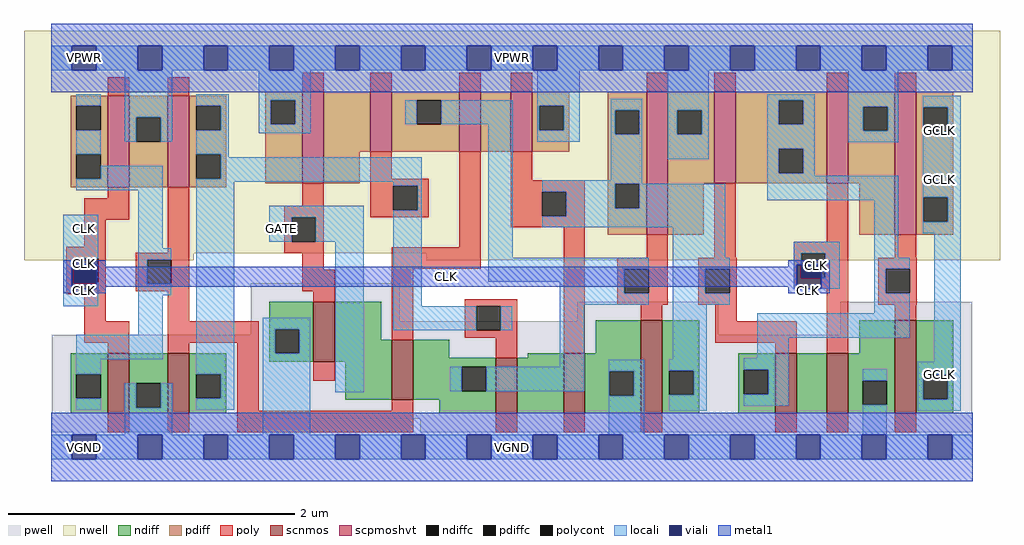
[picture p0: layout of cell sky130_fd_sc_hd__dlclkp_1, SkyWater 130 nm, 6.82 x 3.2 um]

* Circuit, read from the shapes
.subckt sky130_fd_sc_hd__dlclkp_1 CLK GATE VGND VNB VPB VPWR GCLK
XM1 VGND CLK n1 VNB sky130_fd_pr__nfet_01v8 w=0.42 l=0.15
XM2 n2 n1 VGND VNB sky130_fd_pr__nfet_01v8 w=0.42 l=0.15
XM3 n3 GATE VGND VNB sky130_fd_pr__nfet_01v8 w=0.42 l=0.15
XM4 n4 n1 n3 VNB sky130_fd_pr__nfet_01v8 w=0.42 l=0.15
XM5 n5 n2 n4 VNB sky130_fd_pr__nfet_01v8 w=0.39 l=0.15
XM6 VGND n6 n5 VNB sky130_fd_pr__nfet_01v8 w=0.42 l=0.15
XM7 n6 n4 VGND VNB sky130_fd_pr__nfet_01v8 w=0.65 l=0.15
XM8 n7 n6 n8 VNB sky130_fd_pr__nfet_01v8 w=0.42 l=0.15
XM9 VGND CLK n7 VNB sky130_fd_pr__nfet_01v8 w=0.42 l=0.15
XM10 GCLK n8 VGND VNB sky130_fd_pr__nfet_01v8 w=0.65 l=0.15
XM11 VPWR CLK n1 VPB sky130_fd_pr__pfet_01v8_hvt w=0.64 l=0.15
XM12 n2 n1 VPWR VPB sky130_fd_pr__pfet_01v8_hvt w=0.64 l=0.15
XM13 n9 GATE VPWR VPB sky130_fd_pr__pfet_01v8_hvt w=0.64 l=0.15
XM14 n4 n2 n9 VPB sky130_fd_pr__pfet_01v8_hvt w=0.42 l=0.15
XM15 n10 n1 n4 VPB sky130_fd_pr__pfet_01v8_hvt w=0.42 l=0.15
XM16 VPWR n6 n10 VPB sky130_fd_pr__pfet_01v8_hvt w=0.42 l=0.15
XM17 VPWR n4 n6 VPB sky130_fd_pr__pfet_01v8_hvt w=1 l=0.15
XM18 n8 n6 VPWR VPB sky130_fd_pr__pfet_01v8_hvt w=0.64 l=0.15
XM19 VPWR CLK n8 VPB sky130_fd_pr__pfet_01v8_hvt w=0.64 l=0.15
XM20 GCLK n8 VPWR VPB sky130_fd_pr__pfet_01v8_hvt w=1 l=0.15
.ends

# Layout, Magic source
magic
tech sky130A
magscale 1 2
<< nwell >>
rect -38 271 1326 582
rect -38 261 199 271
rect 524 261 1326 271
<< pwell >>
rect 279 176 487 229
rect 735 176 932 203
rect 279 157 932 176
rect 1103 157 1287 203
rect 1 40 1287 157
rect 1 21 271 40
rect 516 21 1287 40
rect 30 -17 64 21
<< scnmos >>
rect 79 47 109 131
rect 163 47 193 131
rect 366 119 396 203
rect 476 66 506 150
rect 621 47 651 125
rect 716 47 746 131
rect 824 47 854 177
rect 1012 47 1042 131
rect 1084 47 1114 131
rect 1179 47 1209 177
<< scpmoshvt >>
rect 79 363 109 491
rect 163 363 193 491
rect 351 369 381 497
rect 446 413 476 497
rect 570 413 600 497
rect 642 413 672 497
rect 832 297 862 497
rect 927 369 957 497
rect 1084 369 1114 497
rect 1179 297 1209 497
<< ndiff >>
rect 27 102 79 131
rect 27 68 35 102
rect 69 68 79 102
rect 27 47 79 68
rect 109 89 163 131
rect 109 55 119 89
rect 153 55 163 89
rect 109 47 163 55
rect 193 102 245 131
rect 193 68 203 102
rect 237 68 245 102
rect 193 47 245 68
rect 305 165 366 203
rect 305 131 313 165
rect 347 131 366 165
rect 305 119 366 131
rect 396 150 461 203
rect 396 119 476 150
rect 411 66 476 119
rect 506 125 556 150
rect 761 131 824 177
rect 666 125 716 131
rect 506 112 621 125
rect 506 78 574 112
rect 608 78 621 112
rect 506 66 621 78
rect 542 47 621 66
rect 651 47 716 125
rect 746 106 824 131
rect 746 72 780 106
rect 814 72 824 106
rect 746 47 824 72
rect 854 107 906 177
rect 1129 131 1179 177
rect 854 73 864 107
rect 898 73 906 107
rect 854 47 906 73
rect 960 108 1012 131
rect 960 74 968 108
rect 1002 74 1012 108
rect 960 47 1012 74
rect 1042 47 1084 131
rect 1114 93 1179 131
rect 1114 59 1134 93
rect 1168 59 1179 93
rect 1114 47 1179 59
rect 1209 101 1261 177
rect 1209 67 1219 101
rect 1253 67 1261 101
rect 1209 47 1261 67
<< pdiff >>
rect 27 477 79 491
rect 27 443 35 477
rect 69 443 79 477
rect 27 409 79 443
rect 27 375 35 409
rect 69 375 79 409
rect 27 363 79 375
rect 109 461 163 491
rect 109 427 119 461
rect 153 427 163 461
rect 109 363 163 427
rect 193 477 245 491
rect 193 443 203 477
rect 237 443 245 477
rect 193 409 245 443
rect 193 375 203 409
rect 237 375 245 409
rect 193 363 245 375
rect 299 485 351 497
rect 299 451 307 485
rect 341 451 351 485
rect 299 369 351 451
rect 381 413 446 497
rect 476 485 570 497
rect 476 451 511 485
rect 545 451 570 485
rect 476 413 570 451
rect 600 413 642 497
rect 672 477 724 497
rect 672 443 682 477
rect 716 443 724 477
rect 672 413 724 443
rect 778 471 832 497
rect 778 437 788 471
rect 822 437 832 471
rect 381 369 431 413
rect 778 368 832 437
rect 778 334 788 368
rect 822 334 832 368
rect 778 297 832 334
rect 862 471 927 497
rect 862 437 875 471
rect 909 437 927 471
rect 862 369 927 437
rect 957 485 1084 497
rect 957 451 1017 485
rect 1051 451 1084 485
rect 957 417 1084 451
rect 957 383 1017 417
rect 1051 383 1084 417
rect 957 369 1084 383
rect 1114 476 1179 497
rect 1114 442 1135 476
rect 1169 442 1179 476
rect 1114 369 1179 442
rect 862 297 912 369
rect 1129 297 1179 369
rect 1209 475 1261 497
rect 1209 441 1219 475
rect 1253 441 1261 475
rect 1209 349 1261 441
rect 1209 315 1219 349
rect 1253 315 1261 349
rect 1209 297 1261 315
<< ndiffc >>
rect 35 68 69 102
rect 119 55 153 89
rect 203 68 237 102
rect 313 131 347 165
rect 574 78 608 112
rect 780 72 814 106
rect 864 73 898 107
rect 968 74 1002 108
rect 1134 59 1168 93
rect 1219 67 1253 101
<< pdiffc >>
rect 35 443 69 477
rect 35 375 69 409
rect 119 427 153 461
rect 203 443 237 477
rect 203 375 237 409
rect 307 451 341 485
rect 511 451 545 485
rect 682 443 716 477
rect 788 437 822 471
rect 788 334 822 368
rect 875 437 909 471
rect 1017 451 1051 485
rect 1017 383 1051 417
rect 1135 442 1169 476
rect 1219 441 1253 475
rect 1219 315 1253 349
<< poly >>
rect 79 491 109 517
rect 163 491 193 517
rect 351 497 381 523
rect 446 497 476 523
rect 570 497 600 523
rect 642 497 672 523
rect 832 497 862 523
rect 927 497 957 523
rect 1084 497 1114 523
rect 1179 497 1209 523
rect 446 375 476 413
rect 79 348 109 363
rect 46 318 109 348
rect 46 280 76 318
rect 21 264 76 280
rect 163 272 193 363
rect 351 337 381 369
rect 21 230 32 264
rect 66 230 76 264
rect 21 214 76 230
rect 118 262 193 272
rect 326 321 381 337
rect 446 365 528 375
rect 446 331 478 365
rect 512 331 528 365
rect 446 321 528 331
rect 326 287 336 321
rect 370 287 381 321
rect 326 271 381 287
rect 570 279 600 413
rect 642 373 672 413
rect 642 357 746 373
rect 642 323 686 357
rect 720 323 746 357
rect 642 307 746 323
rect 118 228 134 262
rect 168 228 193 262
rect 118 218 193 228
rect 351 248 381 271
rect 476 249 600 279
rect 351 218 396 248
rect 46 176 76 214
rect 163 176 193 218
rect 366 203 396 218
rect 46 146 109 176
rect 79 131 109 146
rect 163 146 290 176
rect 163 131 193 146
rect 260 51 290 146
rect 476 150 506 249
rect 578 197 651 207
rect 578 163 594 197
rect 628 163 651 197
rect 578 153 651 163
rect 366 93 396 119
rect 621 125 651 153
rect 716 131 746 307
rect 832 265 862 297
rect 927 265 957 369
rect 1084 287 1114 369
rect 1038 271 1114 287
rect 791 249 862 265
rect 791 215 801 249
rect 835 215 862 249
rect 791 199 862 215
rect 904 249 958 265
rect 904 215 914 249
rect 948 215 958 249
rect 1038 237 1048 271
rect 1082 237 1114 271
rect 1179 265 1209 297
rect 1038 221 1114 237
rect 904 199 958 215
rect 824 177 854 199
rect 476 51 506 66
rect 79 21 109 47
rect 163 21 193 47
rect 260 21 506 51
rect 928 176 958 199
rect 928 146 1042 176
rect 1012 131 1042 146
rect 1084 131 1114 221
rect 1156 249 1210 265
rect 1156 215 1166 249
rect 1200 215 1210 249
rect 1156 199 1210 215
rect 1179 177 1209 199
rect 621 21 651 47
rect 716 21 746 47
rect 824 21 854 47
rect 1012 21 1042 47
rect 1084 21 1114 47
rect 1179 21 1209 47
<< polycont >>
rect 32 230 66 264
rect 478 331 512 365
rect 336 287 370 321
rect 686 323 720 357
rect 134 228 168 262
rect 594 163 628 197
rect 801 215 835 249
rect 914 215 948 249
rect 1048 237 1082 271
rect 1166 215 1200 249
<< locali >>
rect 0 527 29 561
rect 63 527 121 561
rect 155 527 213 561
rect 247 527 305 561
rect 339 527 397 561
rect 431 527 489 561
rect 523 527 581 561
rect 615 527 673 561
rect 707 527 765 561
rect 799 527 857 561
rect 891 527 949 561
rect 983 527 1041 561
rect 1075 527 1133 561
rect 1167 527 1225 561
rect 1259 527 1288 561
rect 35 477 69 493
rect 35 409 69 443
rect 103 461 169 527
rect 103 427 119 461
rect 153 427 169 461
rect 203 477 248 493
rect 237 443 248 477
rect 203 409 248 443
rect 290 485 363 527
rect 290 451 307 485
rect 341 451 363 485
rect 495 451 511 485
rect 545 451 645 485
rect 290 439 363 451
rect 69 375 156 393
rect 35 359 156 375
rect 17 264 66 325
rect 17 255 32 264
rect 17 221 29 255
rect 63 221 66 230
rect 17 197 66 221
rect 122 278 156 359
rect 237 405 248 409
rect 237 375 518 405
rect 203 371 518 375
rect 122 262 168 278
rect 122 228 134 262
rect 122 212 168 228
rect 122 157 156 212
rect 35 123 156 157
rect 35 102 69 123
rect 203 102 256 371
rect 478 365 518 371
rect 305 321 437 337
rect 305 287 336 321
rect 370 287 437 321
rect 35 52 69 68
rect 103 55 119 89
rect 153 55 169 89
rect 103 17 169 55
rect 237 68 256 102
rect 203 52 256 68
rect 296 165 362 181
rect 296 131 313 165
rect 347 131 362 165
rect 296 17 362 131
rect 397 77 437 287
rect 512 331 518 365
rect 478 197 518 331
rect 611 265 645 451
rect 679 477 739 527
rect 679 443 682 477
rect 716 443 739 477
rect 679 427 739 443
rect 782 471 826 487
rect 782 437 788 471
rect 822 437 826 471
rect 782 373 826 437
rect 862 471 919 527
rect 862 437 875 471
rect 909 437 919 471
rect 862 402 919 437
rect 1001 485 1067 493
rect 1001 451 1017 485
rect 1051 451 1067 485
rect 1001 417 1067 451
rect 1114 476 1184 527
rect 1114 442 1135 476
rect 1169 442 1184 476
rect 1114 426 1184 442
rect 1218 475 1271 491
rect 1218 441 1219 475
rect 1253 441 1271 475
rect 686 368 826 373
rect 1001 383 1017 417
rect 1051 383 1067 417
rect 1001 379 1067 383
rect 686 357 788 368
rect 720 334 788 357
rect 822 334 942 368
rect 1001 345 1184 379
rect 720 323 942 334
rect 686 307 942 323
rect 869 265 942 307
rect 1038 271 1102 287
rect 611 249 835 265
rect 611 231 801 249
rect 711 215 801 231
rect 711 199 835 215
rect 869 249 948 265
rect 869 215 914 249
rect 1038 255 1048 271
rect 1038 221 1042 255
rect 1082 237 1102 271
rect 1076 221 1102 237
rect 1150 265 1184 345
rect 1218 349 1271 441
rect 1218 315 1219 349
rect 1253 315 1271 349
rect 1218 299 1271 315
rect 1150 249 1200 265
rect 869 199 948 215
rect 1150 215 1166 249
rect 478 163 594 197
rect 628 163 644 197
rect 711 112 745 199
rect 869 123 916 199
rect 1150 187 1200 215
rect 987 153 1200 187
rect 987 124 1031 153
rect 558 78 574 112
rect 608 78 745 112
rect 779 106 829 122
rect 779 72 780 106
rect 814 72 829 106
rect 779 17 829 72
rect 864 107 916 123
rect 898 73 916 107
rect 864 51 916 73
rect 968 108 1031 124
rect 1234 119 1271 299
rect 1002 74 1031 108
rect 968 58 1031 74
rect 1134 93 1168 109
rect 1134 17 1168 59
rect 1211 101 1271 119
rect 1211 67 1219 101
rect 1253 67 1271 101
rect 1211 51 1271 67
rect 0 -17 29 17
rect 63 -17 121 17
rect 155 -17 213 17
rect 247 -17 305 17
rect 339 -17 397 17
rect 431 -17 489 17
rect 523 -17 581 17
rect 615 -17 673 17
rect 707 -17 765 17
rect 799 -17 857 17
rect 891 -17 949 17
rect 983 -17 1041 17
rect 1075 -17 1133 17
rect 1167 -17 1225 17
rect 1259 -17 1288 17
<< viali >>
rect 29 527 63 561
rect 121 527 155 561
rect 213 527 247 561
rect 305 527 339 561
rect 397 527 431 561
rect 489 527 523 561
rect 581 527 615 561
rect 673 527 707 561
rect 765 527 799 561
rect 857 527 891 561
rect 949 527 983 561
rect 1041 527 1075 561
rect 1133 527 1167 561
rect 1225 527 1259 561
rect 29 230 32 255
rect 32 230 63 255
rect 29 221 63 230
rect 1042 237 1048 255
rect 1048 237 1076 255
rect 1042 221 1076 237
rect 29 -17 63 17
rect 121 -17 155 17
rect 213 -17 247 17
rect 305 -17 339 17
rect 397 -17 431 17
rect 489 -17 523 17
rect 581 -17 615 17
rect 673 -17 707 17
rect 765 -17 799 17
rect 857 -17 891 17
rect 949 -17 983 17
rect 1041 -17 1075 17
rect 1133 -17 1167 17
rect 1225 -17 1259 17
<< metal1 >>
rect 0 561 1288 592
rect 0 527 29 561
rect 63 527 121 561
rect 155 527 213 561
rect 247 527 305 561
rect 339 527 397 561
rect 431 527 489 561
rect 523 527 581 561
rect 615 527 673 561
rect 707 527 765 561
rect 799 527 857 561
rect 891 527 949 561
rect 983 527 1041 561
rect 1075 527 1133 561
rect 1167 527 1225 561
rect 1259 527 1288 561
rect 0 496 1288 527
rect 17 255 76 261
rect 17 221 29 255
rect 63 252 76 255
rect 1030 255 1088 261
rect 1030 252 1042 255
rect 63 224 1042 252
rect 63 221 76 224
rect 17 215 76 221
rect 1030 221 1042 224
rect 1076 221 1088 255
rect 1030 215 1088 221
rect 0 17 1288 48
rect 0 -17 29 17
rect 63 -17 121 17
rect 155 -17 213 17
rect 247 -17 305 17
rect 339 -17 397 17
rect 431 -17 489 17
rect 523 -17 581 17
rect 615 -17 673 17
rect 707 -17 765 17
rect 799 -17 857 17
rect 891 -17 949 17
rect 983 -17 1041 17
rect 1075 -17 1133 17
rect 1167 -17 1225 17
rect 1259 -17 1288 17
rect 0 -48 1288 -17
<< labels >>
flabel locali s 305 289 339 323 0 FreeSans 200 0 0 0 GATE
port 2 nsew signal input
flabel locali s 1225 85 1259 119 0 FreeSans 200 0 0 0 GCLK
port 7 nsew signal output
flabel locali s 1225 425 1259 459 0 FreeSans 200 0 0 0 GCLK
port 7 nsew signal output
flabel locali s 1225 357 1259 391 0 FreeSans 200 0 0 0 GCLK
port 7 nsew signal output
flabel locali s 30 289 64 323 0 FreeSans 200 0 0 0 CLK
port 1 nsew clock input
flabel metal1 s 30 -17 64 17 0 FreeSans 200 0 0 0 VGND
port 3 nsew ground bidirectional abutment
flabel metal1 s 30 527 64 561 0 FreeSans 200 0 0 0 VPWR
port 6 nsew power bidirectional abutment
flabel nwell s 29 527 63 561 0 FreeSans 200 0 0 0 VPB
port 5 nsew power bidirectional
flabel pwell s 30 -17 64 17 0 FreeSans 200 0 0 0 VNB
port 4 nsew ground bidirectional
rlabel comment s 0 0 0 0 4 dlclkp_1
rlabel locali s 1038 221 1102 287 1 CLK
port 1 nsew clock input
rlabel metal1 s 1030 252 1088 261 1 CLK
port 1 nsew clock input
rlabel metal1 s 1030 215 1088 224 1 CLK
port 1 nsew clock input
rlabel metal1 s 17 252 76 261 1 CLK
port 1 nsew clock input
rlabel metal1 s 17 224 1088 252 1 CLK
port 1 nsew clock input
rlabel metal1 s 17 215 76 224 1 CLK
port 1 nsew clock input
rlabel metal1 s 0 -48 1288 48 1 VGND
port 3 nsew ground bidirectional abutment
rlabel metal1 s 0 496 1288 592 1 VPWR
port 6 nsew power bidirectional abutment
<< properties >>
string FIXED_BBOX 0 0 1288 544
string GDS_END 2646252
string GDS_FILE $PDKPATH/libs.ref/sky130_fd_sc_hd/gds/sky130_fd_sc_hd.gds
string GDS_START 2636286
string LEFclass CORE
string LEFsite unithd
string LEFsymmetry X Y R90
string path 0.000 13.600 32.200 13.600 
<< end >>
